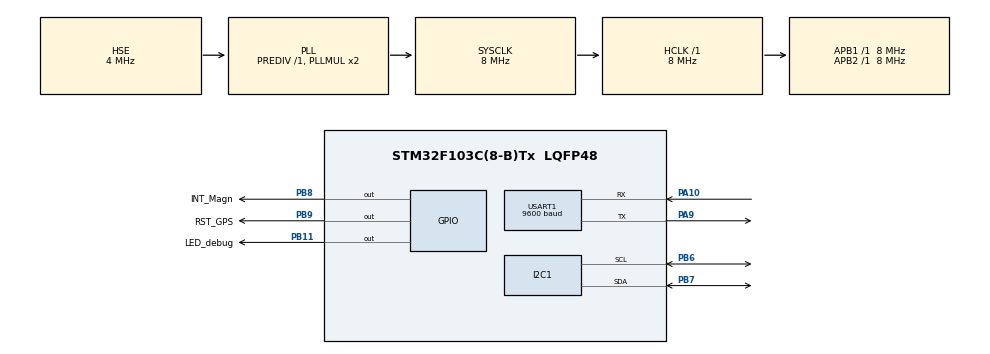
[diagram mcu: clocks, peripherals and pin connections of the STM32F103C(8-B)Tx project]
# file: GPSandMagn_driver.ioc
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Dma.Request0=USART1_RX
Dma.USART1_RX.0.Direction=DMA_PERIPH_TO_MEMORY
Dma.USART1_RX.0.Instance=DMA1_Channel5
Dma.USART1_RX.0.MemDataAlignment=DMA_MDATAALIGN_BYTE
Dma.USART1_RX.0.MemInc=DMA_MINC_ENABLE
Dma.USART1_RX.0.Mode=DMA_CIRCULAR
Dma.USART1_RX.0.PeriphDataAlignment=DMA_PDATAALIGN_BYTE
Dma.USART1_RX.0.PeriphInc=DMA_PINC_DISABLE
Dma.USART1_RX.0.Priority=DMA_PRIORITY_LOW
Mcu.Family=STM32F1
Mcu.Name=STM32F103C(8-B)Tx
Mcu.Package=LQFP48
NVIC.DMA1_Channel5_IRQn=true\:0\:0\:false\:false\:true\:false\:true\:true
NVIC.PriorityGroup=NVIC_PRIORITYGROUP_4
NVIC.USART1_IRQn=true\:0\:0\:false\:false\:true\:true\:true\:true
PA10.Mode=Asynchronous
PA10.Signal=USART1_RX
PA13.Mode=Serial_Wire
PA13.Signal=SYS_JTMS-SWDIO
PA14.Mode=Serial_Wire
PA14.Signal=SYS_JTCK-SWCLK
PA9.Mode=Asynchronous
PA9.Signal=USART1_TX
PB11.GPIO_Label=LED_debug
PB11.Signal=GPIO_Output
PB6.Mode=I2C
PB6.Signal=I2C1_SCL
PB7.Mode=I2C
PB7.Signal=I2C1_SDA
PB8.GPIO_Label=INT_Magn
PB8.Signal=GPIO_Output
PB9.GPIO_Label=RST_GPS
PB9.Signal=GPIO_Output
PD0-OSC_IN.Mode=HSE-External-Oscillator
PD0-OSC_IN.Signal=RCC_OSC_IN
PD1-OSC_OUT.Mode=HSE-External-Oscillator
PD1-OSC_OUT.Signal=RCC_OSC_OUT
ProjectManager.HeapSize=0x200
ProjectManager.StackSize=0x400
ProjectManager.TargetToolchain=STM32CubeIDE
RCC.AHBFreq_Value=8000000
RCC.APB1Freq_Value=8000000
RCC.APB1TimFreq_Value=8000000
RCC.APB2Freq_Value=8000000
RCC.APB2TimFreq_Value=8000000
RCC.HCLKFreq_Value=8000000
RCC.HSE_VALUE=4000000
RCC.PLLSourceVirtual=RCC_PLLSOURCE_HSE
RCC.SYSCLKFreq_VALUE=8000000
RCC.SYSCLKSource=RCC_SYSCLKSOURCE_PLLCLK
RCC.USBFreq_Value=8000000
USART1.BaudRate=9600
USART1.VirtualMode=VM_ASYNC
board=custom

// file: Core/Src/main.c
/* USER CODE BEGIN Header */
/**
  ******************************************************************************
  * @file           : main.c
  * @brief          : Main program body
  ******************************************************************************
  * @attention
  *
  * Copyright (c) 2026 STMicroelectronics.
  * All rights reserved.
  *
  * This software is licensed under terms that can be found in the LICENSE file
  * in the root directory of this software component.
  * If no LICENSE file comes with this software, it is provided AS-IS.
  *
  ******************************************************************************
  */
/* USER CODE END Header */
#include "main.h"
#include "dma.h"
#include "i2c.h"
#include "usart.h"
#include "gpio.h"

/* USER CODE BEGIN Includes */
#include "gps.h"
#include "mag.h"

/* USER CODE END Includes */

/* USER CODE BEGIN PD */
#define LED_SLOW_BLINK_MS               (80U)
#define LED_FAST_BLINK_MS               (80U)
#define LED_FAST_BLINK_TIMES            (3U)
#define GPS_NO_DATA_TIMEOUT_MS          (10000U)
#define MAG_READ_PERIOD_MS              (500U)
#define GPS_RESET_RELEASE_DELAY_MS      (500U)
#define LED_ACTIVE_HIGH                 (1U)
#define LED_ACTIVE_LOW                  (0U)
#define LED_ACTIVE_POLARITY             LED_ACTIVE_HIGH

#if (LED_ACTIVE_POLARITY == LED_ACTIVE_HIGH)
#define LED_ON_STATE                    GPIO_PIN_SET
#define LED_OFF_STATE                   GPIO_PIN_RESET
#else
#define LED_ON_STATE                    GPIO_PIN_RESET
#define LED_OFF_STATE                   GPIO_PIN_SET
#endif

/* USER CODE END PD */

/* USER CODE BEGIN PV */
static bool gps_ok;
static bool mag_ok;
static uint32_t last_gps_sentence_ms;
static uint32_t last_mag_read_ms;
static GPS_RawData_t gps_raw;
static MAG_RawData_t mag_raw;

/* USER CODE END PV */

void SystemClock_Config(void);
/* USER CODE BEGIN PFP */
static void LED_On(GPIO_TypeDef *port, uint16_t pin);
static void LED_Off(GPIO_TypeDef *port, uint16_t pin);
static void LED_BlinkSlow(GPIO_TypeDef *port, uint16_t pin);
static void LED_BlinkFast3(GPIO_TypeDef *port, uint16_t pin);
static void GPS_ResetReleasePin(void);

/* USER CODE END PFP */

int main(void)
{

  /* MCU Configuration--------------------------------------------------------*/

  /* Reset of all peripherals, Initializes the Flash interface and the Systick. */
  HAL_Init();

  /* Configure the system clock */
  SystemClock_Config();

  /* Initialize all configured peripherals */
  MX_GPIO_Init();
  GPS_ResetReleasePin();
  HAL_Delay(GPS_RESET_RELEASE_DELAY_MS);
  MX_DMA_Init();
  MX_I2C1_Init();
  MX_USART1_UART_Init();
  /* USER CODE BEGIN 2 */
  LED_Off(GPS_debug_GPIO_Port, GPS_debug_Pin);
  LED_Off(Magn_debug_GPIO_Port, Magn_debug_Pin);

  gps_ok = GPS_Init(&huart1);
  mag_ok = MAG_Init(&hi2c1);
  last_gps_sentence_ms = HAL_GetTick();
  last_mag_read_ms = HAL_GetTick();

  if (gps_ok)
  {
    LED_On(GPS_debug_GPIO_Port, GPS_debug_Pin);
  }
  else
  {
    LED_Off(GPS_debug_GPIO_Port, GPS_debug_Pin);
  }

  if (mag_ok)
  {
    LED_On(Magn_debug_GPIO_Port, Magn_debug_Pin);
  }
  else
  {
    LED_Off(Magn_debug_GPIO_Port, Magn_debug_Pin);
  }

  /* USER CODE END 2 */

  /* Infinite loop */
  /* USER CODE BEGIN WHILE */
  while (1)
  {
    if (gps_ok && GPS_ReadData(&gps_raw))
    {
      last_gps_sentence_ms = HAL_GetTick();
      LED_BlinkSlow(GPS_debug_GPIO_Port, GPS_debug_Pin);
    }
    else if (!gps_ok || ((HAL_GetTick() - last_gps_sentence_ms) > GPS_NO_DATA_TIMEOUT_MS))
    {
      LED_BlinkFast3(GPS_debug_GPIO_Port, GPS_debug_Pin);
      last_gps_sentence_ms = HAL_GetTick();
    }

    if ((HAL_GetTick() - last_mag_read_ms) >= MAG_READ_PERIOD_MS)
    {
      last_mag_read_ms = HAL_GetTick();
      if (mag_ok && MAG_ReadData(&mag_raw))
      {
        LED_BlinkSlow(Magn_debug_GPIO_Port, Magn_debug_Pin);
      }
      else
      {
        LED_BlinkFast3(Magn_debug_GPIO_Port, Magn_debug_Pin);
      }
    }

    /* USER CODE END WHILE */

  }
}

void SystemClock_Config(void)
{
  RCC_OscInitTypeDef RCC_OscInitStruct = {0};
  RCC_ClkInitTypeDef RCC_ClkInitStruct = {0};

  /** Initializes the RCC Oscillators according to the specified parameters
  * in the RCC_OscInitTypeDef structure.
  */
  RCC_OscInitStruct.OscillatorType = RCC_OSCILLATORTYPE_HSE;
  RCC_OscInitStruct.HSEState = RCC_HSE_ON;
  RCC_OscInitStruct.HSEPredivValue = RCC_HSE_PREDIV_DIV1;
  RCC_OscInitStruct.HSIState = RCC_HSI_ON;
  RCC_OscInitStruct.PLL.PLLState = RCC_PLL_ON;
  RCC_OscInitStruct.PLL.PLLSource = RCC_PLLSOURCE_HSE;
  RCC_OscInitStruct.PLL.PLLMUL = RCC_PLL_MUL2;
  if (HAL_RCC_OscConfig(&RCC_OscInitStruct) != HAL_OK)
  {
    Error_Handler();
  }

  /** Initializes the CPU, AHB and APB buses clocks
  */
  RCC_ClkInitStruct.ClockType = RCC_CLOCKTYPE_HCLK|RCC_CLOCKTYPE_SYSCLK
                              |RCC_CLOCKTYPE_PCLK1|RCC_CLOCKTYPE_PCLK2;
  RCC_ClkInitStruct.SYSCLKSource = RCC_SYSCLKSOURCE_PLLCLK;
  RCC_ClkInitStruct.AHBCLKDivider = RCC_SYSCLK_DIV1;
  RCC_ClkInitStruct.APB1CLKDivider = RCC_HCLK_DIV1;
  RCC_ClkInitStruct.APB2CLKDivider = RCC_HCLK_DIV1;

  if (HAL_RCC_ClockConfig(&RCC_ClkInitStruct, FLASH_LATENCY_0) != HAL_OK)
  {
    Error_Handler();
  }
}

/* USER CODE BEGIN 4 */
static void LED_On(GPIO_TypeDef *port, uint16_t pin)
{
  HAL_GPIO_WritePin(port, pin, LED_ON_STATE);
}

static void LED_Off(GPIO_TypeDef *port, uint16_t pin)
{
  HAL_GPIO_WritePin(port, pin, LED_OFF_STATE);
}

static void LED_BlinkSlow(GPIO_TypeDef *port, uint16_t pin)
{
  LED_Off(port, pin);
  HAL_Delay(LED_SLOW_BLINK_MS);
  LED_On(port, pin);
}

static void LED_BlinkFast3(GPIO_TypeDef *port, uint16_t pin)
{
  for (uint8_t index = 0U; index < LED_FAST_BLINK_TIMES; index++)
  {
    LED_Off(port, pin);
    HAL_Delay(LED_FAST_BLINK_MS);
    LED_On(port, pin);
    HAL_Delay(LED_FAST_BLINK_MS);
  }
}

static void GPS_ResetReleasePin(void)
{
  HAL_GPIO_WritePin(RST_GPS_GPIO_Port, RST_GPS_Pin, GPIO_PIN_SET);
}

/* USER CODE END 4 */

void Error_Handler(void)
{
  __disable_irq();
  while (1)
  {
  }
}
#ifdef USE_FULL_ASSERT
/**
  * @brief  Reports the name of the source file and the source line number
  *         where the assert_param error has occurred.
  * @param  file: pointer to the source file name
  * @param  line: assert_param error line source number
  * @retval None
  */
void assert_failed(uint8_t *file, uint32_t line)
{
  /* USER CODE BEGIN 6 */
  (void)file;
  (void)line;
  /* USER CODE END 6 */
}
#endif /* USE_FULL_ASSERT */
